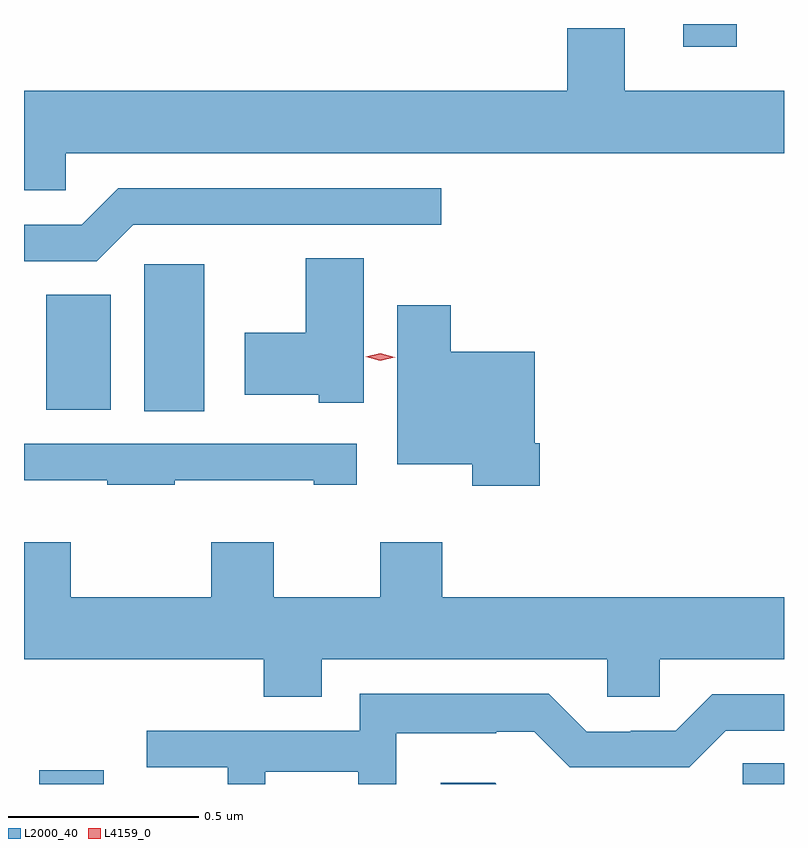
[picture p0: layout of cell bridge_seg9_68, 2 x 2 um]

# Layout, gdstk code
import gdstk
lib = gdstk.Library(unit=1e-6, precision=1e-09)
def R(c, l, rs):  # rectangles x0, y0, x1, y1
    for r in rs: c.add(gdstk.rectangle(r[:2], r[2:], *l))
def P(c, l, *ps):  # polygons
    for p in ps: c.add(gdstk.Polygon(p, *l))
L2000_40 = (2000, 40)
L4159_0 = (4159, 0)

bridge_seg9_68 = lib.new_cell('bridge_seg9_68')
R(bridge_seg9_68, L2000_40, [(1115.246,1188.1,1115.416,1188.136), (1117.098,1188.1,1117.206,1188.155), (1115.522,1189.081,1115.68,1189.468), (1115.264,1189.085,1115.434,1189.387), (1116.941,1190.04,1117.081,1190.1)])
P(bridge_seg9_68, L2000_40, [(1115.316,1189.76),(1117.206,1189.76),(1117.206,1189.924),(1116.787,1189.924),(1116.787,1190.089),(1116.635,1190.089),(1116.635,1189.924),(1115.206,1189.924),(1115.206,1189.662),(1115.316,1189.662)],
  [(1115.493,1189.572),(1116.304,1189.572),(1116.304,1189.668),(1115.454,1189.668),(1115.358,1189.572),(1115.206,1189.572),(1115.206,1189.476),(1115.397,1189.476)],
  [(1116.1,1189.483),(1115.948,1189.483),(1115.948,1189.288),(1115.787,1189.288),(1115.787,1189.124),(1115.982,1189.124),(1115.982,1189.103),(1116.1,1189.103)],
  [(1116.563,1188.997),(1116.55,1188.997),(1116.55,1189.237),(1116.329,1189.237),(1116.329,1189.36),(1116.188,1189.36),(1116.188,1188.941),(1116.385,1188.941),(1116.385,1188.885),(1116.563,1188.885)],
  [(1115.603,1188.899),(1115.969,1188.899),(1115.969,1188.888),(1116.082,1188.888),(1116.082,1188.996),(1115.206,1188.996),(1115.206,1188.899),(1115.425,1188.899),(1115.425,1188.888),(1115.603,1188.888)],
  [(1115.989,1188.428),(1116.741,1188.428),(1116.741,1188.33),(1116.879,1188.33),(1116.879,1188.428),(1117.206,1188.428),(1117.206,1188.592),(1116.307,1188.592),(1116.307,1188.736),(1116.143,1188.736),(1116.143,1188.592),(1115.863,1188.592),(1115.863,1188.736),(1115.699,1188.736),(1115.699,1188.592),(1115.329,1188.592),(1115.329,1188.736),(1115.206,1188.736),(1115.206,1188.428),(1115.837,1188.428),(1115.837,1188.329),(1115.989,1188.329)],
  [(1115.841,1188.132),(1116.085,1188.132),(1116.085,1188.1),(1116.186,1188.1),(1116.186,1188.233),(1116.449,1188.233),(1116.449,1188.237),(1116.549,1188.237),(1116.642,1188.144),(1116.957,1188.144),(1117.053,1188.24),(1117.206,1188.24),(1117.206,1188.336),(1117.017,1188.336),(1116.921,1188.24),(1116.803,1188.24),(1116.803,1188.237),(1116.687,1188.237),(1116.587,1188.337),(1116.09,1188.337),(1116.09,1188.24),(1115.529,1188.24),(1115.529,1188.144),(1115.742,1188.144),(1115.742,1188.1),(1115.841,1188.1)],
  [(1116.446,1188.103),(1116.303,1188.103),(1116.303,1188.1),(1116.449,1188.1)])
P(bridge_seg9_68, L4159_0, [(1116.143,1189.214),(1116.105,1189.224),(1116.104,1189.225),(1116.105,1189.225),(1116.144,1189.234),(1116.182,1189.223),(1116.183,1189.223),(1116.182,1189.223)])

lib.write_gds('bridge_seg9_68.gds')
